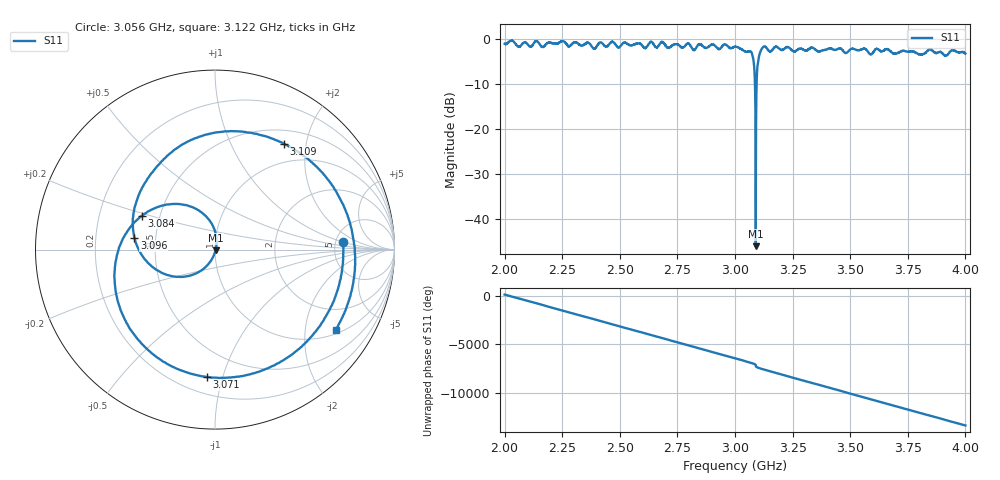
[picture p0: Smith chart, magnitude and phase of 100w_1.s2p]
!Agilent Technologies,E8362B,MY43021131,A.07.50.67
!Agilent E8362B: A.07.50.67
!Date: Thursday, March 14, 2024 13:25:30
!Correction: S11(Off)
!S21(Off)
!S12(Off)
!S22(Off)
!S2P File: Measurements: S11, S21, S12, S22:
# Hz S  RI  R 50
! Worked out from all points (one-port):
!   20001 points, 2 GHz to 4 GHz, reference 50 ohm
!   lowest |S11| = -45.9 dB at 3.09 GHz (marker M1), VSWR 1.01, Z = 50.3 - j0.423 ohm
!   |S11| at or under -10 dB: 3.08659 GHz to 3.093783 GHz (7.193 MHz wide, 0.233 % of centre)
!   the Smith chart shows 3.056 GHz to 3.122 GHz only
!   S11 on the Smith chart (normalised r, x): 3.056 GHz: 5.78, +1.06; 3.071 GHz: 0.31, -0.89; 3.084 GHz: 0.40, +0.19; 3.096 GHz: 0.38, +0.06; 3.109 GHz: 0.70, +1.63; 3.122 GHz: 1.12, -2.90
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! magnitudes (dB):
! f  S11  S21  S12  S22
! 2 GHz  -1.1  -  -  -
! 2.251 GHz  -0.5  -  -  -
! 2.333 GHz  -1.6  -  -  -
! 2.667 GHz  -1.7  -  -  -
! 3 GHz  -1.8  -  -  -
! 3.056 GHz  -2.9  -  -  -
! 3.071 GHz  -3.0  -  -  -
! 3.078 GHz  -4.1  -  -  -
! 3.081 GHz  -5.3  -  -  -
! 3.084 GHz  -7.0  -  -  -
! 3.09 GHz  -45.9  -  -  -
! 3.096 GHz  -6.9  -  -  -
! 3.099 GHz  -5.5  -  -  -
! 3.103 GHz  -4.4  -  -  -
! 3.109 GHz  -3.0  -  -  -
! 3.122 GHz  -1.9  -  -  -
! 3.333 GHz  -2.0  -  -  -
! 3.481 GHz  -3.2  -  -  -
! 3.56 GHz  -2.2  -  -  -
! 3.589 GHz  -3.5  -  -  -
! 3.667 GHz  -2.5  -  -  -
! 4 GHz  -3.3  -  -  -
